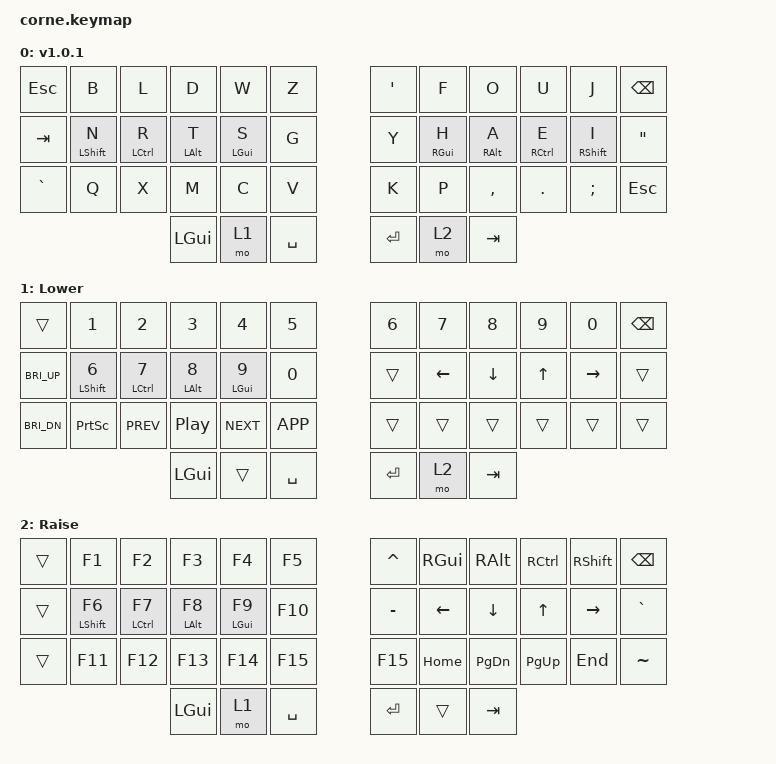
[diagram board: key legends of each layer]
/*
 * Copyright (c) 2020 The ZMK Contributors
 *
 * SPDX-License-Identifier: MIT
 */

#include "./base.dtsi"
#include <dt-bindings/zmk/keys.h>

/ {
        keymap {
                compatible = "zmk,keymap";

                default_layer {
                        display-name = "v1.0.1"; // Generated
                        bindings = <
                                &kp ESC         &kp B           &kp L           &kp D           &kp W           &kp Z           &kp SQT         &kp F           &kp O           &kp U           &kp J           &kp BSPC
                                &kp TAB         &hml LSHFT N    &hml LCTRL R    &hml LALT T     &hml LGUI S     &kp G           &kp Y           &hmr RGUI H     &hmr RALT A     &hmr RCTRL E    &hmr RSHFT I    &kp DQT
                                &kp GRAVE       &kp Q           &kp X           &kp M           &kp C           &kp V           &kp K           &kp P           &kp COMMA       &kp DOT         &kp SEMICOLON   &kp ESC
                                                                                &kp LGUI        &mo 1           &kp SPACE       &kp RET         &mo 2           &kp TAB
                        >;
                };
                lower_layer {
                        display-name = "Lower";
                        bindings = <
                                &trans          &kp N1          &kp N2          &kp N3          &kp N4          &kp N5          &kp N6          &kp N7          &kp N8          &kp N9          &kp N0          &kp BSPC
                                &kp C_BRI_UP    &hml LSHFT N6   &hml LCTRL N7   &hml LALT N8    &hml LGUI N9    &kp N0          &trans          &kp LEFT        &kp DOWN        &kp UP          &kp RIGHT       &trans
                                &kp C_BRI_DN    &kp PRINTSCREEN &kp C_PREV      &kp C_PLAY_PAUSE &kp C_NEXT     &kp K_APP       &trans          &trans          &trans          &trans          &trans          &trans
                                                                                &kp LGUI        &trans          &kp SPACE       &kp RET         &mo 2           &kp TAB
                        >;
                };

                raise_layer {
                        display-name = "Raise";
                        bindings = <
                                &trans          &kp F1          &kp F2          &kp F3          &kp F4          &kp F5          &kp CARET       &kp RGUI        &kp RALT        &kp RCTRL       &kp RSHFT       &kp BSPC
                                &trans          &hml LSHFT F6   &hml LCTRL F7   &hml LALT F8    &hml LGUI F9    &kp F10         &kp MINUS       &kp LEFT        &kp DOWN        &kp UP          &kp RIGHT       &kp GRAVE
                                &trans          &kp F11         &kp F12         &kp F13         &kp F14         &kp F15         &kp F15         &kp HOME        &kp PG_DN       &kp PG_UP       &kp END         &kp TILDE
                                                                                &kp LGUI        &mo 1           &kp SPACE       &kp RET         &trans          &kp TAB
                        >;
                };

        };
};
